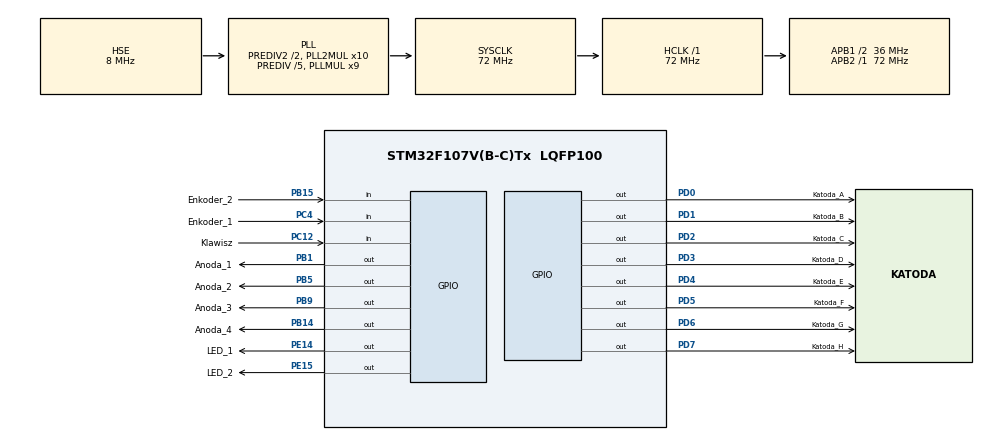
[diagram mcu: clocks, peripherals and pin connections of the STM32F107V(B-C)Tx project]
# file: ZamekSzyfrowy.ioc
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FREERTOS.INCLUDE_xTaskGetCurrentTaskHandle=1
FREERTOS.Tasks01=Task1,-3,128,Wyswietlacz,Default,NULL,Dynamic,NULL,NULL
FREERTOS.configIDLE_SHOULD_YIELD=0
FREERTOS.configUSE_MUTEXES=0
FREERTOS.configUSE_PREEMPTION=0
FREERTOS.configUSE_TICK_HOOK=1
FREERTOS.configUSE_TIMERS=1
Mcu.Family=STM32F1
Mcu.Name=STM32F107V(B-C)Tx
Mcu.Package=LQFP100
NVIC.PriorityGroup=NVIC_PRIORITYGROUP_4
NVIC.TIM6_IRQn=true\:15\:0\:false\:false\:true\:false\:false\:true
NVIC.TimeBase=TIM6_IRQn
NVIC.TimeBaseIP=TIM6
OSC_IN.Mode=HSE-External-Oscillator
OSC_IN.Signal=RCC_OSC_IN
OSC_OUT.Mode=HSE-External-Oscillator
OSC_OUT.Signal=RCC_OSC_OUT
PB1.GPIO_Label=Anoda_1
PB1.Signal=GPIO_Output
PB14.GPIO_Label=Anoda_4
PB14.Signal=GPIO_Output
PB15.GPIO_Label=Enkoder_2
PB15.GPIO_PuPd=GPIO_PULLUP
PB15.Signal=GPIO_Input
PB5.GPIO_Label=Anoda_2
PB5.Signal=GPIO_Output
PB9.GPIO_Label=Anoda_3
PB9.Signal=GPIO_Output
PC12.GPIO_Label=Klawisz
PC12.GPIO_PuPd=GPIO_PULLUP
PC12.Signal=GPIO_Input
PC4.GPIO_Label=Enkoder_1
PC4.GPIO_PuPd=GPIO_PULLUP
PC4.Signal=GPIO_Input
PD0.GPIO_Label=Katoda_A
PD0.Signal=GPIO_Output
PD1.GPIO_Label=Katoda_B
PD1.Signal=GPIO_Output
PD2.GPIO_Label=Katoda_C
PD2.Signal=GPIO_Output
PD3.GPIO_Label=Katoda_D
PD3.Signal=GPIO_Output
PD4.GPIO_Label=Katoda_E
PD4.Signal=GPIO_Output
PD5.GPIO_Label=Katoda_F
PD5.Signal=GPIO_Output
PD6.GPIO_Label=Katoda_G
PD6.Signal=GPIO_Output
PD7.GPIO_Label=Katoda_H
PD7.Signal=GPIO_Output
PE14.GPIO_Label=LED_1
PE14.Signal=GPIO_Output
PE15.GPIO_Label=LED_2
PE15.Signal=GPIO_Output
ProjectManager.HeapSize=0x200
ProjectManager.StackSize=0x400
ProjectManager.TargetToolchain=MDK-ARM V5
RCC.AHBFreq_Value=72000000
RCC.APB1CLKDivider=RCC_HCLK_DIV2
RCC.APB1Freq_Value=36000000
RCC.APB1TimFreq_Value=72000000
RCC.APB2Freq_Value=72000000
RCC.APB2TimFreq_Value=72000000
RCC.HCLKFreq_Value=72000000
RCC.HSEDivPLL=RCC_HSE_PREDIV_DIV5
RCC.PLL2Mul=RCC_PLL2_MUL10
RCC.PLLMUL=RCC_PLL_MUL9
RCC.PLLSourceVirtual=RCC_PLLSOURCE_HSE
RCC.Prediv1Source=RCC_PREDIV1_SOURCE_PLL2
RCC.Prediv2=RCC_HSE_PREDIV2_DIV2
RCC.SYSCLKFreq_VALUE=72000000
RCC.SYSCLKSource=RCC_SYSCLKSOURCE_PLLCLK
RCC.USBFreq_Value=48000000
VP_FREERTOS_VS_CMSIS_V1.Mode=CMSIS_V1
VP_SYS_VS_ND.Mode=No_Debug
VP_SYS_VS_tim6.Mode=TIM6
board=custom

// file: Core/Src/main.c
/* USER CODE BEGIN Header */
/**
  ******************************************************************************
  * @file    main.c
  * @brief   Main program body
	* @author  Marcin Jonik
	*					 Michal Watroba
	* @version 2.0
	* @date		 12.02.2023
  ******************************************************************************
  * @attention
  *
  * Copyright (c) 2023 STMicroelectronics.
  * All rights reserved.
  *
  * This software is licensed under terms that can be found in the LICENSE file
  * in the root directory of this software component.
  * If no LICENSE file comes with this software, it is provided AS-IS.
  *
  ******************************************************************************
  */

/* USER CODE END Header */
#include "main.h"
#include "cmsis_os.h"
#include "gpio.h"

/* USER CODE BEGIN Includes */
#include "Zamek.h"
/* USER CODE END Includes */

/* USER CODE BEGIN PV */
xSemaphoreHandle Tim50ms;
xSemaphoreHandle Tim20ms;
xSemaphoreHandle Tim2ms;

xQueueHandle Wys_A;
xQueueHandle Wys_B;
xQueueHandle Wys_C;
xQueueHandle Wys_D;

xQueueHandle HasloJendenZnak;
xQueueHandle ZmianaCyfry;
xQueueHandle ZmianaCyfry2;
/* USER CODE END PV */

void SystemClock_Config(void);
void MX_FREERTOS_Init(void);
/* USER CODE BEGIN PFP */
void vTask1(void *pvParameters);
void vTask2(void *pvParameters);
void vTask3(void *pvParameters);
/* USER CODE END PFP */

/* USER CODE BEGIN 0 */

void vApplicationTickHook(void)
{
	/* definiowanie zmiennych lokalnych funckji */
  static uint8_t time50ms = 0;
  static uint8_t time20ms = 0;
  static uint8_t time2ms = 0;
  signed portBASE_TYPE xHigherPriorityTaskWoken = pdFALSE;

	/* Tworzenie impulsu z czestoscia odswiezania 2ms */
		if (time2ms++ > 1)
		{
			time2ms = 0;
			/* Wysylanie zmiennej time2ms przez Semaphor */
			xSemaphoreGiveFromISR(Tim2ms, &xHigherPriorityTaskWoken);
		}
	/* Tworzenie impulsu z czestoscia odswiezania 2ms */
		if (time20ms++ > 10)
		{
			time20ms = 0;
			/* Wysylanie zmiennej time20ms przez Semaphor */
			xSemaphoreGiveFromISR(Tim20ms, &xHigherPriorityTaskWoken);
		}
	/* Tworzenie impulsu z czestoscia odswiezania 2ms */
		if (time50ms++ >25)
		{
			time50ms = 0;
			/* Wysylanie zmiennej time50ms przez Semaphor */
			xSemaphoreGiveFromISR(Tim50ms, &xHigherPriorityTaskWoken);
		}

  if (xHigherPriorityTaskWoken == pdTRUE) taskYIELD();
}
/* USER CODE END 0 */

int main(void)
{

  /* MCU Configuration--------------------------------------------------------*/

  /* Reset of all peripherals, Initializes the Flash interface and the Systick. */
  HAL_Init();

  /* Configure the system clock */
  SystemClock_Config();

  /* Initialize all configured peripherals */
  MX_GPIO_Init();
  /* USER CODE BEGIN 2 */
	/* Wstepne ustawianie diod LED */
  HAL_GPIO_WritePin(LED_1_GPIO_Port, LED_1_Pin, GPIO_PIN_SET);
  HAL_GPIO_WritePin(LED_2_GPIO_Port, LED_2_Pin, GPIO_PIN_SET);

/* definiowanie Semaphora imitujacego czas 50ms */
	vSemaphoreCreateBinary(Tim50ms);
	/* definiowanie Semaphora imitujacego czas 20ms */
  vSemaphoreCreateBinary(Tim20ms);
	/* definiowanie Semaphora imitujacego czas 2ms */
  vSemaphoreCreateBinary(Tim2ms);

/* definiowanie kolejek przesylajacych wyswietlane dane */
  Wys_A = xQueueCreate( 16, sizeof(uint8_t) );
	Wys_B = xQueueCreate( 16, sizeof(uint8_t) );
	Wys_C = xQueueCreate( 16, sizeof(uint8_t) );
	Wys_D = xQueueCreate( 16, sizeof(uint8_t) );

/* definiowanie kolejki przesylajacej jeden znak hasla */
  HasloJendenZnak = xQueueCreate( 16, sizeof(uint8_t) );
/* definiowanie kolejki przesylajacej numer wyswietlanej cyfry hasla */
  ZmianaCyfry = xQueueCreate( 16, sizeof(uint8_t) );
/* definiowanie kolejki przesylajacej numer wyswietlanej cyfry hasla */
  ZmianaCyfry2 = xQueueCreate( 16, sizeof(uint8_t) );

/* definiowanie Taska1 odpowiadajacego za obsluge wyswietlaczy siedmiosegmentowych */
  xTaskCreate(vTask1, "WyswietlaczSiedmioSegmentowy", configMINIMAL_STACK_SIZE, NULL,
/* definiowanie Taska1 odpowiadajacego za sprawdzanie poprawnosci wprowadzonego hasla */ main_TASK_PRIORITY, NULL);
	xTaskCreate(vTask2, "PorownywanieHasla", configMINIMAL_STACK_SIZE, NULL, main_TASK_PRIORITY, NULL);
/* definiowanie Taska1 odpowiadajacego za obsluge enkodera obrotowego */
	xTaskCreate(vTask3, "ObslugaEnkodera", configMINIMAL_STACK_SIZE, NULL, main_TASK_PRIORITY, NULL);
  /* USER CODE END 2 */

  /* Call init function for freertos objects (in freertos.c) */
  MX_FREERTOS_Init();
  /* Start scheduler */
  osKernelStart();

  /* We should never get here as control is now taken by the scheduler */
  /* Infinite loop */
  while (1)
  {

  }
}

void SystemClock_Config(void)
{
  RCC_OscInitTypeDef RCC_OscInitStruct = {0};
  RCC_ClkInitTypeDef RCC_ClkInitStruct = {0};

  /** Initializes the RCC Oscillators according to the specified parameters
  * in the RCC_OscInitTypeDef structure.
  */
  RCC_OscInitStruct.OscillatorType = RCC_OSCILLATORTYPE_HSE;
  RCC_OscInitStruct.HSEState = RCC_HSE_ON;
  RCC_OscInitStruct.HSEPredivValue = RCC_HSE_PREDIV_DIV5;
  RCC_OscInitStruct.HSIState = RCC_HSI_ON;
  RCC_OscInitStruct.Prediv1Source = RCC_PREDIV1_SOURCE_PLL2;
  RCC_OscInitStruct.PLL.PLLState = RCC_PLL_ON;
  RCC_OscInitStruct.PLL.PLLSource = RCC_PLLSOURCE_HSE;
  RCC_OscInitStruct.PLL.PLLMUL = RCC_PLL_MUL9;
  RCC_OscInitStruct.PLL2.PLL2State = RCC_PLL2_ON;
  RCC_OscInitStruct.PLL2.PLL2MUL = RCC_PLL2_MUL10;
  RCC_OscInitStruct.PLL2.HSEPrediv2Value = RCC_HSE_PREDIV2_DIV2;
  if (HAL_RCC_OscConfig(&RCC_OscInitStruct) != HAL_OK)
  {
    Error_Handler();
  }
  /** Initializes the CPU, AHB and APB buses clocks
  */
  RCC_ClkInitStruct.ClockType = RCC_CLOCKTYPE_HCLK|RCC_CLOCKTYPE_SYSCLK
                              |RCC_CLOCKTYPE_PCLK1|RCC_CLOCKTYPE_PCLK2;
  RCC_ClkInitStruct.SYSCLKSource = RCC_SYSCLKSOURCE_PLLCLK;
  RCC_ClkInitStruct.AHBCLKDivider = RCC_SYSCLK_DIV1;
  RCC_ClkInitStruct.APB1CLKDivider = RCC_HCLK_DIV2;
  RCC_ClkInitStruct.APB2CLKDivider = RCC_HCLK_DIV1;

  if (HAL_RCC_ClockConfig(&RCC_ClkInitStruct, FLASH_LATENCY_2) != HAL_OK)
  {
    Error_Handler();
  }
  /** Configure the Systick interrupt time
  */
  __HAL_RCC_PLLI2S_ENABLE();
}

void HAL_TIM_PeriodElapsedCallback(TIM_HandleTypeDef *htim)
{
  if (htim->Instance == TIM6) {
    HAL_IncTick();
  }
}

void Error_Handler(void)
{
  __disable_irq();
  while (1)
  {
  }
}

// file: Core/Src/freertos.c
/* USER CODE BEGIN Header */
/**
  ******************************************************************************
  * File Name          : freertos.c
  * Description        : Code for freertos applications
  ******************************************************************************
  * @attention
  *
  * Copyright (c) 2023 STMicroelectronics.
  * All rights reserved.
  *
  * This software is licensed under terms that can be found in the LICENSE file
  * in the root directory of this software component.
  * If no LICENSE file comes with this software, it is provided AS-IS.
  *
  ******************************************************************************
  */
/* USER CODE END Header */

#include "FreeRTOS.h"
#include "task.h"
#include "main.h"
#include "cmsis_os.h"

osThreadId Task1Handle;

void Wyswietlacz(void const * argument);

void MX_FREERTOS_Init(void); /* (MISRA C 2004 rule 8.1) */

/* GetIdleTaskMemory prototype (linked to static allocation support) */
void vApplicationGetIdleTaskMemory( StaticTask_t **ppxIdleTaskTCBBuffer, StackType_t **ppxIdleTaskStackBuffer, uint32_t *pulIdleTaskStackSize );

/* GetTimerTaskMemory prototype (linked to static allocation support) */
void vApplicationGetTimerTaskMemory( StaticTask_t **ppxTimerTaskTCBBuffer, StackType_t **ppxTimerTaskStackBuffer, uint32_t *pulTimerTaskStackSize );

/* Hook prototypes */
void vApplicationTickHook(void);

/* USER CODE BEGIN 3 */
__weak void vApplicationTickHook( void )
{
   /* This function will be called by each tick interrupt if
   configUSE_TICK_HOOK is set to 1 in FreeRTOSConfig.h. User code can be
   added here, but the tick hook is called from an interrupt context, so
   code must not attempt to block, and only the interrupt safe FreeRTOS API
   functions can be used (those that end in FromISR()). */
}
/* USER CODE END 3 */

/* USER CODE BEGIN GET_IDLE_TASK_MEMORY */
static StaticTask_t xIdleTaskTCBBuffer;
static StackType_t xIdleStack[configMINIMAL_STACK_SIZE];

void vApplicationGetIdleTaskMemory( StaticTask_t **ppxIdleTaskTCBBuffer, StackType_t **ppxIdleTaskStackBuffer, uint32_t *pulIdleTaskStackSize )
{
  *ppxIdleTaskTCBBuffer = &xIdleTaskTCBBuffer;
  *ppxIdleTaskStackBuffer = &xIdleStack[0];
  *pulIdleTaskStackSize = configMINIMAL_STACK_SIZE;
  /* place for user code */
}
/* USER CODE END GET_IDLE_TASK_MEMORY */

/* USER CODE BEGIN GET_TIMER_TASK_MEMORY */
static StaticTask_t xTimerTaskTCBBuffer;
static StackType_t xTimerStack[configTIMER_TASK_STACK_DEPTH];

void vApplicationGetTimerTaskMemory( StaticTask_t **ppxTimerTaskTCBBuffer, StackType_t **ppxTimerTaskStackBuffer, uint32_t *pulTimerTaskStackSize )
{
  *ppxTimerTaskTCBBuffer = &xTimerTaskTCBBuffer;
  *ppxTimerTaskStackBuffer = &xTimerStack[0];
  *pulTimerTaskStackSize = configTIMER_TASK_STACK_DEPTH;
  /* place for user code */
}
/* USER CODE END GET_TIMER_TASK_MEMORY */

void MX_FREERTOS_Init(void) {

  /* Create the thread(s) */
  /* definition and creation of Task1 */
  osThreadDef(Task1, Wyswietlacz, osPriorityIdle, 0, 128);
  Task1Handle = osThreadCreate(osThread(Task1), NULL);

}

void Wyswietlacz(void const * argument)
{
  for(;;)
  {
    osDelay(1);
  }
}
